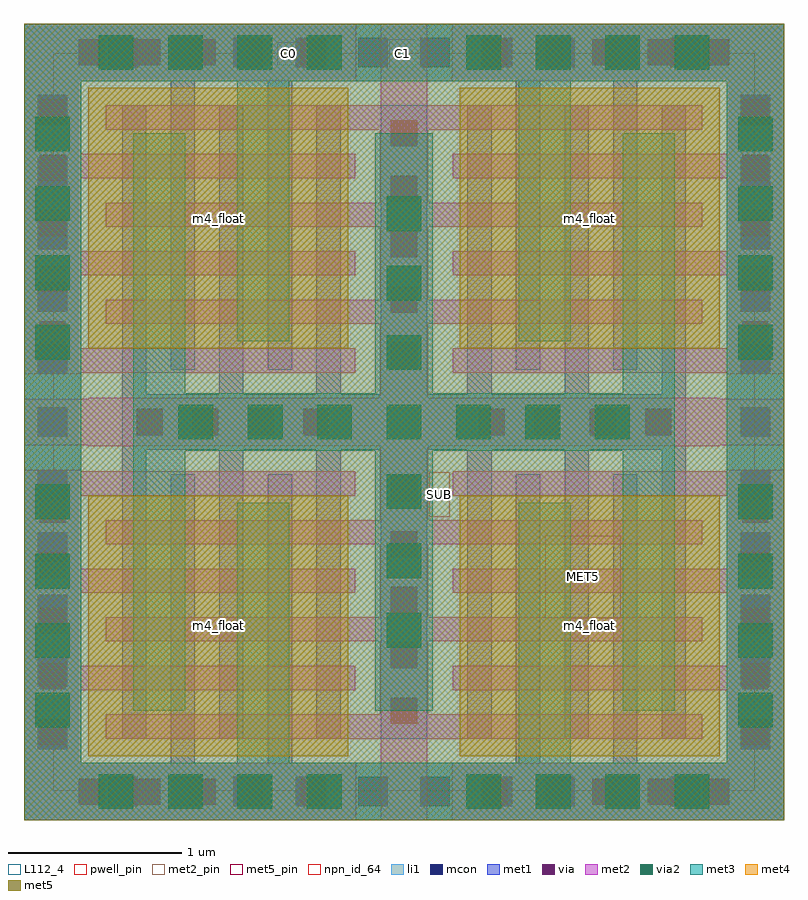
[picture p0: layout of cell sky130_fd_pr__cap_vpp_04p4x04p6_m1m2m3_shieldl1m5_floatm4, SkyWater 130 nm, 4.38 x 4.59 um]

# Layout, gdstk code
import gdstk
lib = gdstk.Library(unit=1e-6, precision=1e-09)
def R(c, l, rs):  # rectangles x0, y0, x1, y1
    for r in rs: c.add(gdstk.rectangle(r[:2], r[2:], *l))
def A(c, l, x, y, w, h, nx, ny, dx, dy):  # array of equal rectangles
    R(c, l, [(x+i*dx, y+j*dy, x+i*dx+w, y+j*dy+h) for i in range(nx) for j in range(ny)])
def P(c, l, *ps):  # polygons
    for p in ps: c.add(gdstk.Polygon(p, *l))
li1 = (67, 20)
mcon = (67, 44)
met1 = (68, 20)
via = (68, 44)
met2_pin = (69, 16)
met2 = (69, 20)
via2 = (69, 44)
met3 = (70, 20)
met4 = (71, 20)
met5_pin = (72, 16)
met5 = (72, 20)
npn_id_64 = (82, 64)
L112_4 = (112, 4)
pwell_pin = (122, 16)

sky130_fd_pr__cap_vpp_04 = lib.new_cell('sky130_fd_pr__cap_vpp_04p4x04p6_m1m2m3_shieldl1m5_floatm4')
R(sky130_fd_pr__cap_vpp_04, li1, [(0,0,4.38,4.59)])
A(sky130_fd_pr__cap_vpp_04, mcon, 0.485, 0.08, 0.17, 0.17, 10, 2, 0.36, 4.26)
A(sky130_fd_pr__cap_vpp_04, mcon, 0.08, 0.41, 0.17, 0.17, 1, 11, 0, 0.36)
A(sky130_fd_pr__cap_vpp_04, mcon, 4.13, 0.41, 0.17, 0.17, 1, 11, 0, 0.36)
P(sky130_fd_pr__cap_vpp_04, met1, [(3.815,4.12),(3.675,4.12),(3.675,2.455),(3.255,2.455),(3.255,4.12),(3.115,4.12),(3.115,2.455),(2.695,2.455),(2.695,4.12),(2.555,4.12),(2.555,2.455),(2.325,2.455),(2.325,4.12),(2.055,4.12),(2.055,2.455),(1.825,2.455),(1.825,4.12),(1.685,4.12),(1.685,2.455),(1.265,2.455),(1.265,4.12),(1.125,4.12),(1.125,2.455),(0.705,2.455),(0.705,4.12),(0.565,4.12),(0.565,0.47),(0.705,0.47),(0.705,2.135),(1.125,2.135),(1.125,0.47),(1.265,0.47),(1.265,2.135),(1.685,2.135),(1.685,0.47),(1.825,0.47),(1.825,2.135),(2.055,2.135),(2.055,0.47),(2.325,0.47),(2.325,2.135),(2.555,2.135),(2.555,0.47),(2.695,0.47),(2.695,2.135),(3.115,2.135),(3.115,0.47),(3.255,0.47),(3.255,2.135),(3.675,2.135),(3.675,0.47),(3.815,0.47)],
  [(4.38,4.59),(4.05,4.59),(4.05,0.33),(3.535,0.33),(3.535,1.995),(3.395,1.995),(3.395,0.33),(2.975,0.33),(2.975,1.995),(2.835,1.995),(2.835,0.33),(1.545,0.33),(1.545,1.995),(1.405,1.995),(1.405,0.33),(0.985,0.33),(0.985,1.995),(0.845,1.995),(0.845,0.33),(0.33,0.33),(0.33,4.26),(0.845,4.26),(0.845,2.595),(0.985,2.595),(0.985,4.26),(1.405,4.26),(1.405,2.595),(1.545,2.595),(1.545,4.26),(2.835,4.26),(2.835,2.595),(2.975,2.595),(2.975,4.26),(3.395,4.26),(3.395,2.595),(3.535,2.595),(3.535,4.26),(4.05,4.26),(4.05,4.59),(0,4.59),(0,0),(4.38,0)])
A(sky130_fd_pr__cap_vpp_04, via, 0.09, 0.435, 0.15, 0.15, 1, 5, 0, 0.32)
A(sky130_fd_pr__cap_vpp_04, via, 4.14, 0.435, 0.15, 0.15, 1, 5, 0, 0.32)
A(sky130_fd_pr__cap_vpp_04, via, 2.115, 0.555, 0.15, 0.15, 1, 5, 0, 0.32)
A(sky130_fd_pr__cap_vpp_04, via, 0.65, 2.22, 0.15, 0.15, 4, 1, 0.32, 0)
A(sky130_fd_pr__cap_vpp_04, via, 2.62, 2.22, 0.15, 0.15, 4, 1, 0.32, 0)
A(sky130_fd_pr__cap_vpp_04, via, 2.115, 2.605, 0.15, 0.15, 1, 5, 0, 0.32)
A(sky130_fd_pr__cap_vpp_04, via, 0.09, 2.725, 0.15, 0.15, 1, 5, 0, 0.32)
A(sky130_fd_pr__cap_vpp_04, via, 4.14, 2.725, 0.15, 0.15, 1, 5, 0, 0.32)
R(sky130_fd_pr__cap_vpp_04, via, [(0.315,0.09,0.465,0.24), (0.315,0.09,0.465,0.24), (0.635,0.09,0.785,0.24), (0.635,0.09,0.785,0.24), (0.955,0.09,1.105,0.24), (0.955,0.09,1.105,0.24), (1.275,0.09,1.425,0.24), (1.275,0.09,1.425,0.24), (1.595,0.09,1.745,0.24), (1.595,0.09,1.745,0.24), (2.635,0.09,2.785,0.24), (2.635,0.09,2.785,0.24), (2.955,0.09,3.105,0.24), (2.955,0.09,3.105,0.24), (3.275,0.09,3.425,0.24), (3.275,0.09,3.425,0.24), (3.595,0.09,3.745,0.24), (3.595,0.09,3.745,0.24), (3.915,0.09,4.065,0.24), (3.915,0.09,4.065,0.24), (0.315,4.35,0.465,4.5), (0.315,4.35,0.465,4.5), (0.635,4.35,0.785,4.5), (0.635,4.35,0.785,4.5), (0.955,4.35,1.105,4.5), (0.955,4.35,1.105,4.5), (1.275,4.35,1.425,4.5), (1.275,4.35,1.425,4.5), (1.595,4.35,1.745,4.5), (1.595,4.35,1.745,4.5), (2.635,4.35,2.785,4.5), (2.635,4.35,2.785,4.5), (2.955,4.35,3.105,4.5), (2.955,4.35,3.105,4.5), (3.275,4.35,3.425,4.5), (3.275,4.35,3.425,4.5), (3.595,4.35,3.745,4.5), (3.595,4.35,3.745,4.5), (3.915,4.35,4.065,4.5), (3.915,4.35,4.065,4.5)])
R(sky130_fd_pr__cap_vpp_04, met2_pin, [(2.105,4.34,2.255,4.5), (1.46,4.35,1.595,4.485)])
P(sky130_fd_pr__cap_vpp_04, met2, [(1.915,4.59),(0,4.59),(0,2.57),(0.33,2.57),(0.33,2.58),(1.91,2.58),(1.91,2.72),(0.33,2.72),(0.33,3.14),(1.91,3.14),(1.91,3.28),(0.33,3.28),(0.33,3.7),(1.91,3.7),(1.91,3.84),(0.33,3.84),(0.33,4.26),(1.915,4.26)],
  [(1.915,0.33),(0.33,0.33),(0.33,0.75),(1.91,0.75),(1.91,0.89),(0.33,0.89),(0.33,1.31),(1.91,1.31),(1.91,1.45),(0.33,1.45),(0.33,1.87),(1.91,1.87),(1.91,2.01),(0.33,2.01),(0.33,2.02),(0,2.02),(0,0),(1.915,0)],
  [(4.38,4.59),(2.465,4.59),(2.465,4.26),(4.05,4.26),(4.05,3.84),(2.47,3.84),(2.47,3.7),(4.05,3.7),(4.05,3.28),(2.47,3.28),(2.47,3.14),(4.05,3.14),(4.05,2.72),(2.47,2.72),(2.47,2.58),(4.05,2.58),(4.05,2.57),(4.38,2.57)],
  [(4.38,2.43),(4.01,2.43),(4.01,2.435),(2.33,2.435),(2.33,2.86),(3.91,2.86),(3.91,3),(2.33,3),(2.33,3.42),(3.91,3.42),(3.91,3.56),(2.33,3.56),(2.33,3.98),(3.91,3.98),(3.91,4.12),(2.325,4.12),(2.325,4.59),(2.055,4.59),(2.055,4.12),(0.47,4.12),(0.47,3.98),(2.05,3.98),(2.05,3.56),(0.47,3.56),(0.47,3.42),(2.05,3.42),(2.05,3),(0.47,3),(0.47,2.86),(2.05,2.86),(2.05,2.435),(0.37,2.435),(0.37,2.43),(0,2.43),(0,2.16),(0.37,2.16),(0.37,2.155),(2.05,2.155),(2.05,1.73),(0.47,1.73),(0.47,1.59),(2.05,1.59),(2.05,1.17),(0.47,1.17),(0.47,1.03),(2.05,1.03),(2.05,0.61),(0.47,0.61),(0.47,0.47),(2.055,0.47),(2.055,0),(2.325,0),(2.325,0.47),(3.91,0.47),(3.91,0.61),(2.33,0.61),(2.33,1.03),(3.91,1.03),(3.91,1.17),(2.33,1.17),(2.33,1.59),(3.91,1.59),(3.91,1.73),(2.33,1.73),(2.33,2.155),(4.01,2.155),(4.01,2.16),(4.38,2.16)],
  [(4.38,2.02),(4.05,2.02),(4.05,2.01),(2.47,2.01),(2.47,1.87),(4.05,1.87),(4.05,1.45),(2.47,1.45),(2.47,1.31),(4.05,1.31),(4.05,0.89),(2.47,0.89),(2.47,0.75),(4.05,0.75),(4.05,0.33),(2.465,0.33),(2.465,0),(4.38,0)])
A(sky130_fd_pr__cap_vpp_04, via2, 0.43, 0.065, 0.2, 0.2, 4, 2, 0.4, 4.26)
A(sky130_fd_pr__cap_vpp_04, via2, 2.55, 0.065, 0.2, 0.2, 4, 2, 0.4, 4.26)
A(sky130_fd_pr__cap_vpp_04, via2, 0.065, 0.535, 0.2, 0.2, 1, 4, 0, 0.4)
A(sky130_fd_pr__cap_vpp_04, via2, 4.115, 0.535, 0.2, 0.2, 1, 4, 0, 0.4)
A(sky130_fd_pr__cap_vpp_04, via2, 2.09, 0.995, 0.2, 0.2, 1, 4, 0, 0.4)
A(sky130_fd_pr__cap_vpp_04, via2, 0.89, 2.195, 0.2, 0.2, 4, 1, 0.4, 0)
A(sky130_fd_pr__cap_vpp_04, via2, 2.09, 2.195, 0.2, 0.2, 1, 4, 0, 0.4)
A(sky130_fd_pr__cap_vpp_04, via2, 2.09, 2.195, 0.2, 0.2, 4, 1, 0.4, 0)
A(sky130_fd_pr__cap_vpp_04, via2, 0.065, 2.655, 0.2, 0.2, 1, 4, 0, 0.4)
A(sky130_fd_pr__cap_vpp_04, via2, 4.115, 2.655, 0.2, 0.2, 1, 4, 0, 0.4)
R(sky130_fd_pr__cap_vpp_04, via2, [(2.09,2.195,2.29,2.395), (2.09,2.195,2.29,2.395), (2.09,2.195,2.29,2.395), (2.09,2.195,2.29,2.395)])
P(sky130_fd_pr__cap_vpp_04, met3, [(4.38,4.59),(4.05,4.59),(4.05,0.33),(3.15,0.33),(3.15,1.83),(2.85,1.83),(2.85,0.33),(1.53,0.33),(1.53,1.83),(1.23,1.83),(1.23,0.33),(0.33,0.33),(0.33,4.26),(1.23,4.26),(1.23,2.76),(1.53,2.76),(1.53,4.26),(2.85,4.26),(2.85,2.76),(3.15,2.76),(3.15,4.26),(4.05,4.26),(4.05,4.59),(0,4.59),(0,0),(4.38,0)],
  [(3.75,3.96),(3.45,3.96),(3.45,2.46),(2.355,2.46),(2.355,3.96),(2.025,3.96),(2.025,2.46),(0.93,2.46),(0.93,3.96),(0.63,3.96),(0.63,0.63),(0.93,0.63),(0.93,2.13),(2.025,2.13),(2.025,0.63),(2.355,0.63),(2.355,2.13),(3.45,2.13),(3.45,0.63),(3.75,0.63)])
R(sky130_fd_pr__cap_vpp_04, met4, [(0.37,0.37,1.87,1.87), (2.51,0.37,4.01,1.87), (0.37,2.72,1.87,4.22), (2.51,2.72,4.01,4.22)])
R(sky130_fd_pr__cap_vpp_04, met5_pin, [(3.005,1.165,3.44,1.64)])
R(sky130_fd_pr__cap_vpp_04, met5, [(0,0,4.38,4.59)])
R(sky130_fd_pr__cap_vpp_04, npn_id_64, [(0.17,0.17,4.21,4.42)])
R(sky130_fd_pr__cap_vpp_04, L112_4, [(0,0,4.38,4.59)])
R(sky130_fd_pr__cap_vpp_04, pwell_pin, [(2.335,1.75,2.455,2.005)])
sky130_fd_pr__cap_vpp_04.add(gdstk.Label('m4_float', (3.26,3.47), layer=83, texttype=44))
sky130_fd_pr__cap_vpp_04.add(gdstk.Label('m4_float', (3.26,1.12), layer=83, texttype=44))
sky130_fd_pr__cap_vpp_04.add(gdstk.Label('m4_float', (1.12,3.47), layer=83, texttype=44))
sky130_fd_pr__cap_vpp_04.add(gdstk.Label('m4_float', (1.12,1.12), layer=83, texttype=44))
sky130_fd_pr__cap_vpp_04.add(gdstk.Label('MET5', (3.225,1.405), layer=72, texttype=5))
sky130_fd_pr__cap_vpp_04.add(gdstk.Label('C0', (1.525,4.42), layer=69, texttype=5))
sky130_fd_pr__cap_vpp_04.add(gdstk.Label('C1', (2.18,4.42), layer=69, texttype=5))
sky130_fd_pr__cap_vpp_04.add(gdstk.Label('SUB', (2.395,1.875), layer=64, texttype=59))

lib.write_gds('sky130_fd_pr__cap_vpp_04p4x04p6_m1m2m3_shieldl1m5_floatm4.gds')
